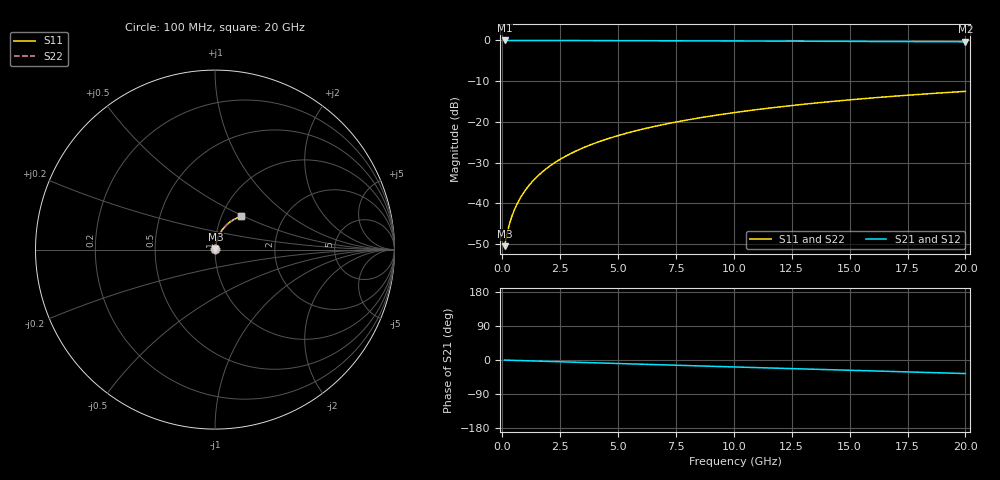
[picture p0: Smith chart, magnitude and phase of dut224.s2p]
! Touchstone file exported from HFSS 2026.1.0
!  File:  C:/ffzhzh/LocalFiles/Ansys_Project_Files/temp_train_BSMRDL_224_1782988127_40604.aedt
!  Generated:  06:30:00 PM Jul  2, 2026
!  Design:  BSMRDL
!  Project:  temp_train_BSMRDL_224_1782988127_40604
! Variables:
!  h_bsmrdl = 3.74um
!  h_ox = 20um
!  h_rdl = 5um
!  h_sub = 80um
!  h_tmrdl = 5um
!  h_tsv = 80um
!  h_via = 3um
!  l_bsmrdl = 569.78um
!  l_sub = 969.78um
!  l_tmrdl = 200um
!  m_sub = 200um
!  pitch = 39.11um
!  r_tsv = 6um
!  s_tmrdl = 10um
!  w_bsmrdl = 24.21um
!  w_sub = 500um
!  w_tmrdl = 12um
!  x_tsv_center1 = 206um
!  x_tsv_center2 = 799.99um
!  x_tsv_center3 = 1011.99um
!  x_tsv_center4 = 1605.98um
!  x_tsv_center5 = 1817.98um
!  x_tsv_center6 = 2411.97um
# GHz S MA R 50.000000
! Terminal data exported
! Port[1] = BSM_RDL1_1_T1
! Port[2] = BSM_RDL1_1_T2
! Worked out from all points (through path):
!   200 points, 100 MHz to 20 GHz, reference 50 ohm
!   highest |S21| = -0.02 dB at 100 MHz (marker M1); lowest = -0.4 dB at 20 GHz (marker M2)
!   group delay of S21, straight-line fit = 4.96 ps
!   lowest |S11| = -50.5 dB at 100 MHz (marker M3), VSWR 1.01, Z = 50.2 + j0.166 ohm
!   |S11| at or under -10 dB: start of sweep to end of sweep
!   |S22| runs from -50.5 to -12.5 dB; largest |S21 - S12| = 3.4e-15
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0.1  0.002973 33.7  0.9975 -0.2  0.9975 -0.2  0.002973 33.7
! Gamma 0 0 0 0
! Port Impedance 50 0 50 0
0.2  0.004165 50.1  0.9973 -0.4  0.9973 -0.4  0.004165 50.1
0.3  0.005453 58.0  0.9971 -0.6  0.9971 -0.6  0.005453 58.0
0.4  0.006735 62.8  0.997 -0.8  0.997 -0.8  0.006735 62.8
0.5  0.008012 66.2  0.9969 -1.0  0.9969 -1.0  0.008012 66.2
0.6  0.009294 68.7  0.9968 -1.1  0.9968 -1.1  0.009294 68.7
0.8  0.01189 72.3  0.9966 -1.5  0.9966 -1.5  0.01189 72.3
1.1  0.01584 75.4  0.9965 -2.1  0.9965 -2.1  0.01584 75.4
1.3  0.01851 76.6  0.9964 -2.5  0.9964 -2.5  0.01851 76.6
1.6  0.02254 77.7  0.9962 -3.0  0.9962 -3.0  0.02254 77.7
2.1  0.02928 78.6  0.9958 -3.9  0.9958 -3.9  0.02928 78.6
2.7  0.03735 78.7  0.9952 -5.1  0.9952 -5.1  0.03735 78.7
3.5  0.04804 78.1  0.9944 -6.5  0.9944 -6.5  0.04804 78.1
4.2  0.05729 77.2  0.9935 -7.8  0.9935 -7.8  0.05729 77.2
5  0.06773 76.1  0.9923 -9.3  0.9923 -9.3  0.06773 76.1
5.9  0.07929 74.7  0.9909 -10.9  0.9909 -10.9  0.07929 74.7
6.8  0.09066 73.3  0.9894 -12.6  0.9894 -12.6  0.09065 73.3
8.3  0.1092 70.9  0.9867 -15.3  0.9867 -15.3  0.1092 70.9
10.1  0.1308 67.9  0.9832 -18.5  0.9832 -18.5  0.1308 67.9
13.4  0.1686 62.4  0.9761 -24.3  0.9761 -24.3  0.1686 62.4
16.7  0.2039 57.0  0.9685 -30.1  0.9685 -30.1  0.2039 57.0
20  0.2366 51.6  0.9603 -35.8  0.9603 -35.8  0.2366 51.6
